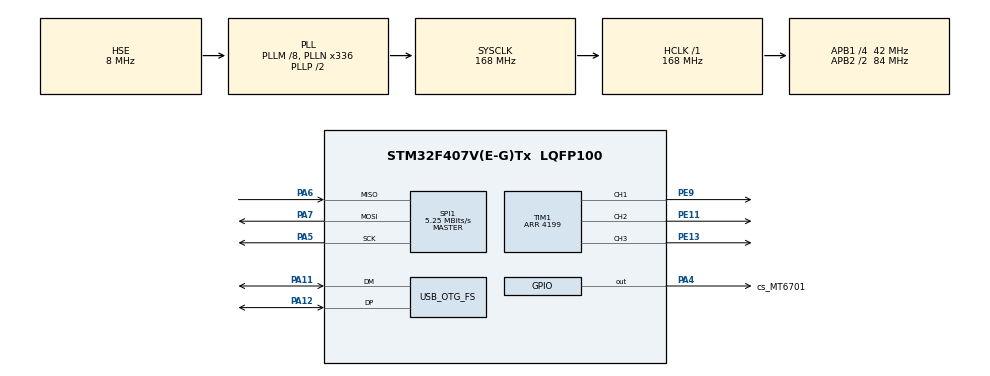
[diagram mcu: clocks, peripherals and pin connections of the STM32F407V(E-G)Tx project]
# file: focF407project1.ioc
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Mcu.Family=STM32F4
Mcu.Name=STM32F407V(E-G)Tx
Mcu.Package=LQFP100
NVIC.OTG_FS_IRQn=true\:0\:0\:false\:false\:true\:false\:true\:true
NVIC.PriorityGroup=NVIC_PRIORITYGROUP_4
PA11.Mode=Device_Only
PA11.Signal=USB_OTG_FS_DM
PA12.Mode=Device_Only
PA12.Signal=USB_OTG_FS_DP
PA13.Mode=Serial_Wire
PA13.Signal=SYS_JTMS-SWDIO
PA14.Mode=Serial_Wire
PA14.Signal=SYS_JTCK-SWCLK
PA4.GPIO_Label=cs_MT6701
PA4.PinState=GPIO_PIN_SET
PA4.Signal=GPIO_Output
PA5.Mode=Full_Duplex_Master
PA5.Signal=SPI1_SCK
PA6.Mode=Full_Duplex_Master
PA6.Signal=SPI1_MISO
PA7.Mode=Full_Duplex_Master
PA7.Signal=SPI1_MOSI
PE11.Signal=S_TIM1_CH2
PE13.Signal=S_TIM1_CH3
PE9.Signal=S_TIM1_CH1
PH0-OSC_IN.Mode=HSE-External-Oscillator
PH0-OSC_IN.Signal=RCC_OSC_IN
PH1-OSC_OUT.Mode=HSE-External-Oscillator
PH1-OSC_OUT.Signal=RCC_OSC_OUT
ProjectManager.HeapSize=0x200
ProjectManager.StackSize=0x400
ProjectManager.TargetToolchain=MDK-ARM V5.32
RCC.48MHZClocksFreq_Value=48000000
RCC.AHBFreq_Value=168000000
RCC.APB1CLKDivider=RCC_HCLK_DIV4
RCC.APB1Freq_Value=42000000
RCC.APB1TimFreq_Value=84000000
RCC.APB2CLKDivider=RCC_HCLK_DIV2
RCC.APB2Freq_Value=84000000
RCC.APB2TimFreq_Value=168000000
RCC.CortexFreq_Value=168000000
RCC.HCLKFreq_Value=168000000
RCC.HSE_VALUE=8000000
RCC.HSI_VALUE=16000000
RCC.LSE_VALUE=32768
RCC.PLLM=8
RCC.PLLN=336
RCC.PLLQ=7
RCC.SYSCLKFreq_VALUE=168000000
RCC.SYSCLKSource=RCC_SYSCLKSOURCE_PLLCLK
RCC.VCOOutputFreq_Value=336000000
SH.S_TIM1_CH1.0=TIM1_CH1,PWM Generation1 CH1
SH.S_TIM1_CH2.0=TIM1_CH2,PWM Generation2 CH2
SH.S_TIM1_CH3.0=TIM1_CH3,PWM Generation3 CH3
SPI1.BaudRatePrescaler=SPI_BAUDRATEPRESCALER_16
SPI1.CalculateBaudRate=5.25 MBits/s
SPI1.Direction=SPI_DIRECTION_2LINES
SPI1.Mode=SPI_MODE_MASTER
SPI1.VirtualType=VM_MASTER
TIM1.AutomaticOutput=TIM_AUTOMATICOUTPUT_ENABLE
TIM1.Channel-PWM\ Generation1\ CH1=TIM_CHANNEL_1
TIM1.Channel-PWM\ Generation2\ CH2=TIM_CHANNEL_2
TIM1.Channel-PWM\ Generation3\ CH3=TIM_CHANNEL_3
TIM1.CounterMode=TIM_COUNTERMODE_CENTERALIGNED1
TIM1.OffStateIDLEMode=TIM_OSSI_ENABLE
TIM1.OffStateRunMode=TIM_OSSR_ENABLE
TIM1.Period=4199
TIM1.Pulse-PWM\ Generation1\ CH1=2100
TIM1.Pulse-PWM\ Generation2\ CH2=2100
TIM1.RepetitionCounter=1
TIM1.TIM_MasterOutputTrigger=TIM_TRGO_UPDATE
USB_DEVICE.CLASS_NAME_FS=CDC
USB_DEVICE.VirtualMode-CDC_FS=Cdc
USB_DEVICE.VirtualModeFS=Cdc_FS
USB_OTG_FS.VirtualMode=Device_Only
VP_USB_DEVICE_VS_USB_DEVICE_CDC_FS.Mode=CDC_FS
board=custom

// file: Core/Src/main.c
/* USER CODE BEGIN Header */
/**
  ******************************************************************************
  * @file           : main.c
  * @brief          : Main program body
  ******************************************************************************
  * @attention
  *
  * Copyright (c) 2026 STMicroelectronics.
  * All rights reserved.
  *
  * This software is licensed under terms that can be found in the LICENSE file
  * in the root directory of this software component.
  * If no LICENSE file comes with this software, it is provided AS-IS.
  *
  ******************************************************************************
  */
/* USER CODE END Header */
#include "main.h"
#include "usb_device.h"

/* USER CODE BEGIN Includes */
#include "foc.h"
#include "Vofa.h"
#include "encoder.h"

/* USER CODE END Includes */

/* USER CODE BEGIN PD */

/* ==================== 运行模式 ==================== */
/* 0 = 正常运行（开环 / 位置环 / 速度环，由下面两个开关决定）
   1 = 只读编码器（不启动 PWM，电机自由，手转看角度）
   2 = 静态标定（固定电压矢量吸住转子，ch4 给出建议 offset）
   3 = 升压扫描（0.1V 起每 0.5s 加 0.05V，找启动电压后自动冻结）
   4 = offset 扫描（微调量转一圈，看电机何时开始朝目标走） */
#define ENC_TEST_MODE        0

/* ==================== 控制方式（三选一） ==================== */
/* USE_SPEED_LOOP=1     → 速度闭环，按 TARGET_SPEED 转
   USE_POSITION_LOOP=1  → 位置闭环，转到 TARGET_ANGLE 停住
   两个都 0              → 开环 V/f */
#define USE_SPEED_LOOP       1
#define USE_POSITION_LOOP    0

/* ==================== 目标值 ==================== */
#define TARGET_SPEED          10.0f                      /* 目标转速，rad/s（负数反转） */
#define TARGET_ANGLE          5.70f     /* 目标机械角，rad（0 ~ 6.283） */

/* ==================== 转速斜坡 ==================== */
#define SPEED_RAMP_STEP       0.5f      /* 每步加多少，rad/s */
#define SPEED_RAMP_INTERVAL   500U      /* 每步多少毫秒 */

/* ==================== VOFA+ 波形 ==================== */
#define VOFA_PERIOD_MS        5U        /* 发送周期，ms（5ms = 200Hz） */
#define VOFA_USE_TEXT         0         /* 1 = FireWater 文本，0 = JustFloat 二进制 */

/* ==================== 标定参数 ==================== */
#define OFFSET_STEP           0.04f     /* offset 扫描步长，rad/100ms */
#define OFFSET_INTERVAL       100U      /* 每步多少毫秒 */
#define CAL_VOLTAGE_START     0.10f     /* 升压扫描起始电压，V */
#define CAL_VOLTAGE_STEP      0.05f     /* 每步加多少，V */
#define CAL_VOLTAGE_MAX       1.50f     /* 最高升到多少，V */
#define CAL_VOLTAGE_INTERVAL  500U      /* 每步多少毫秒 */
#define MOVE_THRESHOLD        0.05f     /* 转过这么多就认为"吸动了"，rad */

/* 位置环验证：1 = 每 2.5 秒自动换目标，0 = 固定保持一点 */
#define POSITION_SWEEP        0

/* USER CODE END PD */

SPI_HandleTypeDef hspi1;

TIM_HandleTypeDef htim1;

/* USER CODE BEGIN PV */
/* 主循环写、中断读，必须 volatile */
volatile float g_target_speed = 0.0f;               /* 目标转速，rad/s */
volatile float g_target_angle = TARGET_ANGLE;       /* 目标机械角，rad */
volatile float g_cal_voltage  = CAL_VOLTAGE_START;  /* 升压扫描当前电压，V */
volatile float g_cal_offset   = 0.0f;               /* offset 扫描微调量，rad */
/* USER CODE END PV */

void SystemClock_Config(void);
static void MX_GPIO_Init(void);
static void MX_TIM1_Init(void);
static void MX_SPI1_Init(void);

int main(void)
{

  /* MCU Configuration--------------------------------------------------------*/

  /* Reset of all peripherals, Initializes the Flash interface and the Systick. */
  HAL_Init();

  /* Configure the system clock */
  SystemClock_Config();

  /* Initialize all configured peripherals */
  MX_GPIO_Init();
  MX_TIM1_Init();
  MX_USB_DEVICE_Init();
  MX_SPI1_Init();
  /* USER CODE BEGIN 2 */
  /* 只用 3 路单端 PWM！
     驱动板（L6234 / SimpleFOCShield）自己会把每一路补成上下桥，
     死区和防直通都在芯片内部做，所以这里绝对不要再去开 CHxN：
       1) 开了以后 CH1N/CH2N/CH3N 引脚也会输出电平，接错线会和驱动板打架；
       2) 两边的死区会叠加，波形反而更差。
     也就是说 BDTR 里那个 DeadTime=100 现在不参与任何输出。 */
#if ENC_TEST_MODE != 1
  HAL_TIM_PWM_Start(&htim1, TIM_CHANNEL_1);
  HAL_TIM_PWM_Start(&htim1, TIM_CHANNEL_2);
  HAL_TIM_PWM_Start(&htim1, TIM_CHANNEL_3);
#endif
  /* 初始占空比统一设 50%：ARR=4199，比较值 2100，
     3 路都是 50% 时三相电压互相抵消，电机不出力 */
  __HAL_TIM_SET_COMPARE(&htim1, TIM_CHANNEL_1, 2100);
  __HAL_TIM_SET_COMPARE(&htim1, TIM_CHANNEL_2, 2100);
  __HAL_TIM_SET_COMPARE(&htim1, TIM_CHANNEL_3, 2100);

  /* ==================== FOC 开环启动 ==================== */
  vofa_init();        /* VOFA+：USB 已由 MX_USB_DEVICE_Init 起好，这里只清计数 */
  encoder_init();     /* MT6701：片选拉高、清空内部状态 */

#if ENC_TEST_MODE == 0
  foc_init();
  foc_align();        /* 转子预定位：固定电压矢量把转子吸住 */
  HAL_Delay(500);     /* 等转子停稳，此时中断还没开，CCR 保持不变 */
#else
  /* 模式 1 / 2：也要初始化 FOC 内部变量（angle=0、voltage_q=0），但不做长时间预定位 */
  foc_init();
#if ENC_TEST_MODE == 2
  /* 标定模式需要转子被固定矢量吸住，所以这里同样要预定位 */
  foc_align();
  HAL_Delay(500);
#endif
#endif

  /* 打开 TIM1 更新中断，20kHz 触发一次 FOC 计算 */
#if ENC_TEST_MODE != 1
  HAL_NVIC_SetPriority(TIM1_UP_TIM10_IRQn, 1, 0);
  HAL_NVIC_EnableIRQ(TIM1_UP_TIM10_IRQn);
  __HAL_TIM_ENABLE_IT(&htim1, TIM_IT_UPDATE);
#endif
  /* ==================================================== */

  /* USER CODE END 2 */

  /* Infinite loop */
  while (1)
  {

    /* USER CODE BEGIN 3 */
    /* 慢斜坡：0 → TARGET_SPEED，每 0.5 秒加 0.5 rad/s。
       给到 g_target_speed 后，TIM1 中断里 foc_open(g_target_speed) 每 50us 读一次。
       只在正常运行模式下爬坡；标定模式必须让 g_target_speed 保持 0，矢量才不动 */
#if ENC_TEST_MODE == 0
    static uint32_t tick_ramp = 0;
    if (HAL_GetTick() - tick_ramp >= SPEED_RAMP_INTERVAL)
    {
      tick_ramp = HAL_GetTick();
      if (TARGET_SPEED >= 0.0f)          /* 正转：往正方向爬 */
      {
        if (g_target_speed < TARGET_SPEED) { g_target_speed += SPEED_RAMP_STEP; }
        if (g_target_speed > TARGET_SPEED) { g_target_speed = TARGET_SPEED; }
      }
      else                                  /* 反转：往负方向爬 */
      {
        if (g_target_speed > TARGET_SPEED) { g_target_speed -= SPEED_RAMP_STEP; }
        if (g_target_speed < TARGET_SPEED) { g_target_speed = TARGET_SPEED; }
      }
    }
#endif

#if ENC_TEST_MODE == 3
    /* 升压扫描：每 0.5 秒把电压抬高 0.05V，从 0.1V 一直到 1.5V。
       电机在哪一档"啪"一下被吸动，那一档就是它的启动电压。
       ★ 安全设计：一旦检测到转子真的动了，立刻冻结电压，不再往上升，
         避免"电阻其实很小 → 升压过头 → 过流烧芯片"。 */
    {
      static uint32_t tick_cal          = 0;
      static float    s_angle_start   = 0.0f;
      static uint8_t  s_first = 1;
      static uint8_t  s_moved        = 0;
      float    angle_now = encoder_read_mech();

      if (s_first)
      {
        s_angle_start   = angle_now;
        s_first = 0;
      }
      else
      {
        /* 判断"相对起点转过了多少"，而不是逐次累加绝对值——
           逐次累加会被编码器 ±1 计数的噪声喂出一个假的"大幅移动" */
        float delta = angle_now - s_angle_start;
        if (delta >  ENC_PI) { delta -= ENC_TWO_PI; }
        if (delta < -ENC_PI) { delta += ENC_TWO_PI; }

        if (delta > MOVE_THRESHOLD || delta < -MOVE_THRESHOLD)
        {
          s_moved = 1;
        }
      }

      /* 只有"还没动"的时候才继续升压 */
      if (!s_moved)
      {
        if (HAL_GetTick() - tick_cal >= CAL_VOLTAGE_INTERVAL)
        {
          tick_cal = HAL_GetTick();
          if (g_cal_voltage < CAL_VOLTAGE_MAX)
          {
            g_cal_voltage += CAL_VOLTAGE_STEP;
            if (g_cal_voltage > CAL_VOLTAGE_MAX) { g_cal_voltage = CAL_VOLTAGE_MAX; }
          }
        }
      }
    }
#endif

#if ENC_TEST_MODE == 4
    /* offset 扫描：每 100ms 把电角度微调往前推 0.03 rad，
       大约 21 秒转完一圈。位置环一直在跑，
       扫到"正确"的那个角度时，电机会明显开始往目标走。 */
    {
      static uint32_t tick_offset = 0;
      if (HAL_GetTick() - tick_offset >= OFFSET_INTERVAL)
      {
        tick_offset = HAL_GetTick();
        g_cal_offset += OFFSET_STEP;
        if (g_cal_offset >= ENC_TWO_PI) { g_cal_offset -= ENC_TWO_PI; }
        foc_set_offset_trim(g_cal_offset);
      }
    }
#endif

#if (ENC_TEST_MODE == 0) && USE_POSITION_LOOP
    /* 位置环验证：每 2.5 秒换一个目标角，看电机能不能准确跟过去。
       步长只有 0.6 弧度（34°），小步、安全、看得清。
       想固定目标就把上面的 POSITION_SWEEP 改成 0 */
#if POSITION_SWEEP
    {
      static const float  s_targets[] = { 5.80f, 5.20f, 4.60f, 5.20f };
      static uint8_t      s_index     = 0;
      static uint32_t     tick_step      = 0;

      if (HAL_GetTick() - tick_step >= 2500U)
      {
        tick_step      = HAL_GetTick();
        s_index     = (uint8_t)((s_index + 1) % 4U);
        g_target_angle = s_targets[s_index];
      }
    }
#endif
#endif

    /* ---------- VOFA+ 示波器：每 5ms 推一帧（200Hz） ----------
       7 个通道，顺序就是 VOFA+ 里的通道 0~6：
         0: g_target_speed          给定机械角速度 rad/s
         1: g_foc_dbg.speed_e   电角速度 rad/s
         2: g_foc_dbg.angle 电角度 rad
         3: g_foc_dbg.voltage_q   q 轴电压 V
         4~6: 三相占空比 0~1 */
    static uint32_t tick_vofa = 0;
    if (HAL_GetTick() - tick_vofa >= VOFA_PERIOD_MS)
    {
      tick_vofa = HAL_GetTick();

      float vofa_channel[7];

#if ENC_TEST_MODE == 3
      /* ===== 升压扫描 =====
         ch0: 当前电压 V      ch1: 机械角 rad
         ch2: 建议 offset     ch3: 14 位计数 */
      {
        uint16_t raw_data    = encoder_read_raw();
        uint16_t angle_count  = (uint16_t)(raw_data >> ENC_ANGLE_SHIFT);
        float    angle_mech     = (float)angle_count * ENC_TWO_PI / ENC_COUNTS_PER_REV;
        float    angle     = angle_mech * (float)ENC_POLE_PAIRS;
        float    offset_now;

        while (angle >= ENC_TWO_PI) { angle -= ENC_TWO_PI; }

        offset_now = FOC_ALIGN_THETA + ENC_HALF_PI - angle;
        while (offset_now <  0.0f)       { offset_now += ENC_TWO_PI; }
        while (offset_now >= ENC_TWO_PI) { offset_now -= ENC_TWO_PI; }

        vofa_channel[0] = g_cal_voltage;
        vofa_channel[1] = angle_mech;
        vofa_channel[2] = offset_now;
        vofa_channel[3] = (float)angle_count;
        vofa_channel[4] = 0.0f;
        vofa_channel[5] = 0.0f;
        vofa_channel[6] = 0.0f;
      }
#elif ENC_TEST_MODE == 4
      /* offset 扫描：ch0 当前微调值 / ch1 实测角 / ch2 误差 / ch3 voltage_q */
      vofa_channel[0] = g_cal_offset;
      vofa_channel[1] = g_foc_dbg.angle_mech;
      vofa_channel[2] = g_foc_dbg.error_pos;
      vofa_channel[3] = g_foc_dbg.voltage_q;
      vofa_channel[4] = g_foc_dbg.duty_a;
      vofa_channel[5] = g_foc_dbg.duty_b;
      vofa_channel[6] = g_foc_dbg.duty_c;
#elif ENC_TEST_MODE != 0
      /* ===== 编码器调试（模式 1 / 2）=====
         通道 0: 机械角 rad        1: 电角度 rad（未加 offset）
         通道 2: SPI 原始 16 位    3: 14 位角度计数 0~16383
         通道 4: 建议的 offset（把电角度归零所需的偏移量） */
      {
        uint16_t raw_data    = encoder_read_raw();
        uint16_t angle_count  = (uint16_t)(raw_data >> ENC_ANGLE_SHIFT);
        float    angle_mech     = (float)angle_count * ENC_TWO_PI / ENC_COUNTS_PER_REV;
        float    angle     = angle_mech * (float)ENC_POLE_PAIRS;
        float    offset_hint;

        while (angle >= ENC_TWO_PI) { angle -= ENC_TWO_PI; }

        /* 预定位时电压矢量加在 FOC_ALIGN_THETA + 90° 方向，
           转子 d 轴会停在那里。所以 offset 应该让
               (angle_mech × 极对数 + offset) 等于 FOC_ALIGN_THETA + π/2 */
        offset_hint = FOC_ALIGN_THETA + ENC_HALF_PI - angle;
        while (offset_hint <  0.0f)        { offset_hint += ENC_TWO_PI; }
        while (offset_hint >= ENC_TWO_PI)  { offset_hint -= ENC_TWO_PI; }

        vofa_channel[0] = angle_mech;
        vofa_channel[1] = angle;
        vofa_channel[2] = (float)raw_data;
        vofa_channel[3] = (float)angle_count;
        vofa_channel[4] = offset_hint;
        vofa_channel[5] = 0.0f;
        vofa_channel[6] = 0.0f;
      }
#else
#if USE_SPEED_LOOP
      /* 速度闭环：目标转速 / 实测转速 / 速度误差 / voltage_q / 三相占空比 */
      vofa_channel[0] = g_foc_dbg.target;            /* 目标转速 rad/s */
      vofa_channel[1] = g_encoder_dbg.speed;  /* 实测转速 rad/s */
      vofa_channel[2] = g_foc_dbg.error_pos;        /* 速度误差 */
      vofa_channel[3] = g_foc_dbg.voltage_q;
      vofa_channel[4] = g_foc_dbg.duty_a;
      vofa_channel[5] = g_foc_dbg.duty_b;
      vofa_channel[6] = g_foc_dbg.duty_c;
#elif USE_POSITION_LOOP
      /* 位置闭环：目标角 / 实际角 / 误差 / 电压 / 三相占空比 */
      vofa_channel[0] = g_foc_dbg.target;
      vofa_channel[1] = g_foc_dbg.angle_mech;
      vofa_channel[2] = g_foc_dbg.error_pos;
      vofa_channel[3] = g_foc_dbg.voltage_q;
      vofa_channel[4] = g_foc_dbg.duty_a;
      vofa_channel[5] = g_foc_dbg.duty_b;
      vofa_channel[6] = g_foc_dbg.duty_c;
#else
      /* 开环：g_target_speed / 【编码器算出的机械角速度】 / angle / voltage_q / 三相占空比
         ch1 是"编码器读数变化速度"：
           正值 = 编码器读数在增大
           负值 = 编码器读数在减小
         开环给 +3 rad/s 时，ch1 应该读到 +3 左右。
         如果读到 -3，说明编码器方向和磁场方向相反，ENC_DIR 要改成 -1。 */
      {
        static float    s_last_angle  = 0.0f;
        static uint32_t s_last_tick = 0;
        static float    s_speed = 0.0f;
        float    angle_now  = encoder_read_mech();
        uint32_t tick_now  = HAL_GetTick();
        float    speed;

        if (s_last_tick != 0 && tick_now != s_last_tick)
        {
          float delta_angle = angle_now - s_last_angle;
          float dt    = (float)(tick_now - s_last_tick) * 0.001f;
          float speed_instant;

          /* 过零处理：实际转过的角度一定小于半圈 */
          if (delta_angle >  ENC_PI) { delta_angle -= ENC_TWO_PI; }
          if (delta_angle < -ENC_PI) { delta_angle += ENC_TWO_PI; }

          speed_instant = delta_angle / dt;

          /* 合理性检查：这台电机不可能超过 15 rad/s。
             超出的都是编码器偶发跳读，直接丢掉这一拍，不污染滤波值 */
          if (speed_instant > 15.0f || speed_instant < -15.0f)
          {
            speed_instant = s_speed;   /* 用上一次的值顶上 */
          }

          /* 一阶低通，时间常数 0.5 秒，把残余毛刺平均掉 */
          s_speed += (speed_instant - s_speed) * (dt / 0.5f);
        }

        s_last_angle  = angle_now;
        s_last_tick = tick_now;
        speed        = s_speed;

        vofa_channel[0] = g_target_speed;
        vofa_channel[1] = speed;
        /* ch2 = 直接反推出来的电角度偏移：磁场角 − 极对数 × 机械角
           开环慢速转、转子不丢步时，这个值应该是一个**常数**，
           那个常数就是正确的 ENC_ELEC_OFFSET */
        {
          float offset_now = g_foc_dbg.angle
                           - (float)ENC_POLE_PAIRS * angle_now;
          while (offset_now <  0.0f)       { offset_now += ENC_TWO_PI; }
          while (offset_now >= ENC_TWO_PI) { offset_now -= ENC_TWO_PI; }
          vofa_channel[2] = offset_now;
        }
        vofa_channel[3] = g_foc_dbg.voltage_q;
        vofa_channel[4] = g_foc_dbg.duty_a;
        vofa_channel[5] = g_foc_dbg.duty_b;
        vofa_channel[6] = g_foc_dbg.duty_c;
      }
#endif
#endif

#if VOFA_USE_TEXT
      /* FireWater：发 "2.000,14.000,6.283,1.640,0.500,0.558,0.442\n"
         优点是人眼/串口助手直接能看懂，调通阶段建议先用这个 */
      (void)vofa_send_text(vofa_channel, 7);
#else
      /* JustFloat：浮点二进制 + 帧尾 00 00 80 7F，带宽省 */
      vofa_begin();
      vofa_put(vofa_channel[0]);
      vofa_put(vofa_channel[1]);
      vofa_put(vofa_channel[2]);
      vofa_put(vofa_channel[3]);
      vofa_put(vofa_channel[4]);
      vofa_put(vofa_channel[5]);
      vofa_put(vofa_channel[6]);
      (void)vofa_end();              /* 忙就丢帧，不阻塞电机控制 */
#endif
    }
  }
  /* USER CODE END 3 */
}

void SystemClock_Config(void)
{
  RCC_OscInitTypeDef RCC_OscInitStruct = {0};
  RCC_ClkInitTypeDef RCC_ClkInitStruct = {0};

  /** Configure the main internal regulator output voltage
  */
  __HAL_RCC_PWR_CLK_ENABLE();
  __HAL_PWR_VOLTAGESCALING_CONFIG(PWR_REGULATOR_VOLTAGE_SCALE1);

  /** Initializes the RCC Oscillators according to the specified parameters
  * in the RCC_OscInitTypeDef structure.
  */
  RCC_OscInitStruct.OscillatorType = RCC_OSCILLATORTYPE_HSE;
  RCC_OscInitStruct.HSEState = RCC_HSE_ON;
  RCC_OscInitStruct.PLL.PLLState = RCC_PLL_ON;
  RCC_OscInitStruct.PLL.PLLSource = RCC_PLLSOURCE_HSE;
  RCC_OscInitStruct.PLL.PLLM = 8;
  RCC_OscInitStruct.PLL.PLLN = 336;
  RCC_OscInitStruct.PLL.PLLP = RCC_PLLP_DIV2;
  RCC_OscInitStruct.PLL.PLLQ = 7;
  if (HAL_RCC_OscConfig(&RCC_OscInitStruct) != HAL_OK)
  {
    Error_Handler();
  }

  /** Initializes the CPU, AHB and APB buses clocks
  */
  RCC_ClkInitStruct.ClockType = RCC_CLOCKTYPE_HCLK|RCC_CLOCKTYPE_SYSCLK
                              |RCC_CLOCKTYPE_PCLK1|RCC_CLOCKTYPE_PCLK2;
  RCC_ClkInitStruct.SYSCLKSource = RCC_SYSCLKSOURCE_PLLCLK;
  RCC_ClkInitStruct.AHBCLKDivider = RCC_SYSCLK_DIV1;
  RCC_ClkInitStruct.APB1CLKDivider = RCC_HCLK_DIV4;
  RCC_ClkInitStruct.APB2CLKDivider = RCC_HCLK_DIV2;

  if (HAL_RCC_ClockConfig(&RCC_ClkInitStruct, FLASH_LATENCY_5) != HAL_OK)
  {
    Error_Handler();
  }
}

static void MX_SPI1_Init(void)
{

  /* SPI1 parameter configuration*/
  hspi1.Instance = SPI1;
  hspi1.Init.Mode = SPI_MODE_MASTER;
  hspi1.Init.Direction = SPI_DIRECTION_2LINES;
  hspi1.Init.DataSize = SPI_DATASIZE_8BIT;
  hspi1.Init.CLKPolarity = SPI_POLARITY_LOW;
  hspi1.Init.CLKPhase = SPI_PHASE_1EDGE;
  hspi1.Init.NSS = SPI_NSS_SOFT;
  hspi1.Init.BaudRatePrescaler = SPI_BAUDRATEPRESCALER_32;
  hspi1.Init.FirstBit = SPI_FIRSTBIT_MSB;
  hspi1.Init.TIMode = SPI_TIMODE_DISABLE;
  hspi1.Init.CRCCalculation = SPI_CRCCALCULATION_DISABLE;
  hspi1.Init.CRCPolynomial = 10;
  if (HAL_SPI_Init(&hspi1) != HAL_OK)
  {
    Error_Handler();
  }

}

static void MX_TIM1_Init(void)
{

  TIM_MasterConfigTypeDef sMasterConfig = {0};
  TIM_OC_InitTypeDef sConfigOC = {0};
  TIM_BreakDeadTimeConfigTypeDef sBreakDeadTimeConfig = {0};

  htim1.Instance = TIM1;
  htim1.Init.Prescaler = 0;
  htim1.Init.CounterMode = TIM_COUNTERMODE_CENTERALIGNED1;
  htim1.Init.Period = 4199;
  htim1.Init.ClockDivision = TIM_CLOCKDIVISION_DIV1;
  htim1.Init.RepetitionCounter = 1;
  htim1.Init.AutoReloadPreload = TIM_AUTORELOAD_PRELOAD_DISABLE;
  if (HAL_TIM_PWM_Init(&htim1) != HAL_OK)
  {
    Error_Handler();
  }
  sMasterConfig.MasterOutputTrigger = TIM_TRGO_UPDATE;
  sMasterConfig.MasterSlaveMode = TIM_MASTERSLAVEMODE_DISABLE;
  if (HAL_TIMEx_MasterConfigSynchronization(&htim1, &sMasterConfig) != HAL_OK)
  {
    Error_Handler();
  }
  sConfigOC.OCMode = TIM_OCMODE_PWM1;
  sConfigOC.Pulse = 2100;
  sConfigOC.OCPolarity = TIM_OCPOLARITY_HIGH;
  sConfigOC.OCNPolarity = TIM_OCNPOLARITY_HIGH;
  sConfigOC.OCFastMode = TIM_OCFAST_DISABLE;
  sConfigOC.OCIdleState = TIM_OCIDLESTATE_RESET;
  sConfigOC.OCNIdleState = TIM_OCNIDLESTATE_RESET;
  if (HAL_TIM_PWM_ConfigChannel(&htim1, &sConfigOC, TIM_CHANNEL_1) != HAL_OK)
  {
    Error_Handler();
  }
  if (HAL_TIM_PWM_ConfigChannel(&htim1, &sConfigOC, TIM_CHANNEL_2) != HAL_OK)
  {
    Error_Handler();
  }
  sConfigOC.Pulse = 0;
  if (HAL_TIM_PWM_ConfigChannel(&htim1, &sConfigOC, TIM_CHANNEL_3) != HAL_OK)
  {
    Error_Handler();
  }
  sBreakDeadTimeConfig.OffStateRunMode = TIM_OSSR_ENABLE;
  sBreakDeadTimeConfig.OffStateIDLEMode = TIM_OSSI_ENABLE;
  sBreakDeadTimeConfig.LockLevel = TIM_LOCKLEVEL_OFF;
  sBreakDeadTimeConfig.DeadTime = 0;
  sBreakDeadTimeConfig.BreakState = TIM_BREAK_DISABLE;
  sBreakDeadTimeConfig.BreakPolarity = TIM_BREAKPOLARITY_HIGH;
  sBreakDeadTimeConfig.AutomaticOutput = TIM_AUTOMATICOUTPUT_ENABLE;
  if (HAL_TIMEx_ConfigBreakDeadTime(&htim1, &sBreakDeadTimeConfig) != HAL_OK)
  {
    Error_Handler();
  }
  HAL_TIM_MspPostInit(&htim1);

}

static void MX_GPIO_Init(void)
{
  GPIO_InitTypeDef GPIO_InitStruct = {0};

  /* GPIO Ports Clock Enable */
  __HAL_RCC_GPIOH_CLK_ENABLE();
  __HAL_RCC_GPIOA_CLK_ENABLE();
  __HAL_RCC_GPIOE_CLK_ENABLE();

  /*Configure GPIO pin Output Level */
  HAL_GPIO_WritePin(cs_MT6701_GPIO_Port, cs_MT6701_Pin, GPIO_PIN_SET);

  /*Configure GPIO pin : cs_MT6701_Pin */
  GPIO_InitStruct.Pin = cs_MT6701_Pin;
  GPIO_InitStruct.Mode = GPIO_MODE_OUTPUT_PP;
  GPIO_InitStruct.Pull = GPIO_NOPULL;
  GPIO_InitStruct.Speed = GPIO_SPEED_FREQ_LOW;
  HAL_GPIO_Init(cs_MT6701_GPIO_Port, &GPIO_InitStruct);

}

/* USER CODE BEGIN 4 */
/* TIM1 更新中断：覆盖启动文件里的弱定义 */
void TIM1_UP_TIM10_IRQHandler(void)
{
  HAL_TIM_IRQHandler(&htim1);
}

/* HAL 的更新事件回调，20kHz 调一次 FOC */
void HAL_TIM_PeriodElapsedCallback(TIM_HandleTypeDef *htim)
{
  if (htim->Instance == TIM1)
  {
#if ENC_TEST_MODE == 3
    foc_static(FOC_ALIGN_THETA, g_cal_voltage);
#elif ENC_TEST_MODE == 4
    foc_close_position(g_target_angle);   /* offset 扫描时位置环照常跑 */
#elif USE_SPEED_LOOP
    foc_close_speed(g_target_speed);
#elif USE_POSITION_LOOP
    foc_close_position(g_target_angle);
#else
    foc_open(g_target_speed);
#endif
  }
}

/* USER CODE END 4 */

void Error_Handler(void)
{
  __disable_irq();
  while (1)
  {
  }
}
